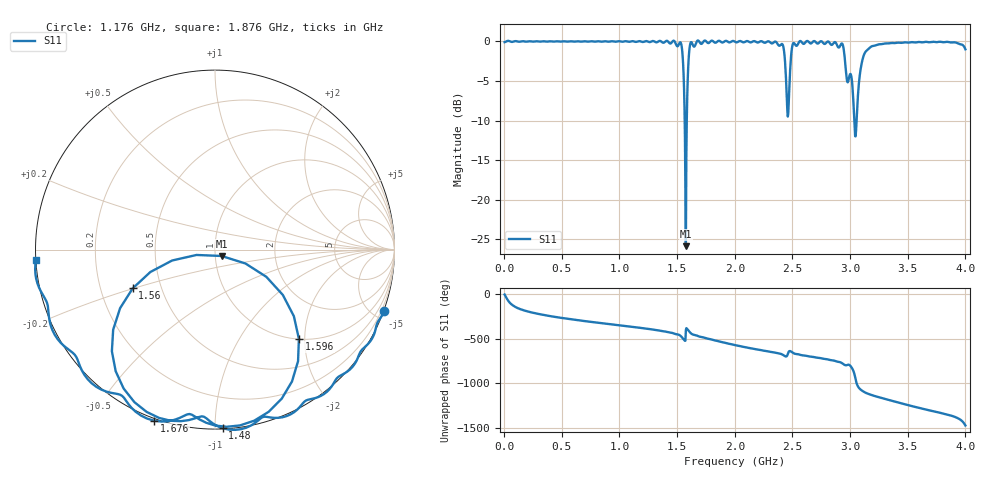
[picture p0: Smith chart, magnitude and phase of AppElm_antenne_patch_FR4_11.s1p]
! TOUCHSTONE file generated by CST MICROWAVE STUDIO
! Date and time: Tue Jun  7 21:31:23 2022
! Project name: AppElm_antenne_patch_FR4.cst
! Parameters = {L=45; W=58.5; e=0.035; h=1.6; lambda=0.190476; ls=120; w0=2; w1=0.533; ws=120; y0=20; y1=23.81}
! Header version: 2018
! Port assignment regex: !\s*Touchstone port\s*([0-9]+)\s*=\s*(CST MWS port|CST DS port)\s*([0-9]+|Zmin|Zmax)\s*\(\"(.*)\"\)(\s*mode\s*([0-9]+))?.*
! Touchstone port assignment:
! Touchstone port 1 = CST MWS port 1 ("")
# GHz S MA R 50
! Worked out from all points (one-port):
!   1000 points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, 4 MHz to 4 GHz, reference 50 ohm
!   lowest |S11| = -25.8 dB at 1.576 GHz (marker M1), VSWR 1.11, Z = 53.7 - j3.82 ohm
!   |S11| at or under -10 dB: 1.566 GHz to 1.584 GHz (18.12 MHz wide, 1.15 % of centre); 3.036 GHz to 3.056 GHz (20.14 MHz wide, 0.661 % of centre)
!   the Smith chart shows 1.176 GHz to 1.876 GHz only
!   S11 on the Smith chart (normalised r, x): 1.176 GHz: -0.07, -5.67; 1.48 GHz: 0.00, -1.04; 1.56 GHz: 0.34, -0.20; 1.596 GHz: 1.01, -1.87; 1.676 GHz: -0.01, -0.71; 1.876 GHz: 0.00, -0.03
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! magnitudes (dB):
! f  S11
! 4 MHz  -0.1
! 504 MHz  0.0
! 1.004 GHz  0.0
! 1.176 GHz  0.0
! 1.48 GHz  0.0
! 1.504 GHz  -0.6
! 1.54 GHz  -0.7
! 1.548 GHz  -1.9
! 1.56 GHz  -5.9
! 1.576 GHz  -25.8
! 1.588 GHz  -6.8
! 1.596 GHz  -3.3
! 1.604 GHz  -1.4
! 1.616 GHz  -0.2
! 1.676 GHz  0.1
! 1.876 GHz  0.0
! 2.004 GHz  -0.1
! 2.404 GHz  -0.3
! 2.424 GHz  -0.9
! 2.46 GHz  -9.5
! 2.504 GHz  -0.3
! 2.924 GHz  -0.3
! 3.004 GHz  -4.1
! 3.048 GHz  -12.0
! 3.096 GHz  -3.1
! 3.136 GHz  -1.3
! 3.504 GHz  -0.1
! 4 GHz  -1.0
